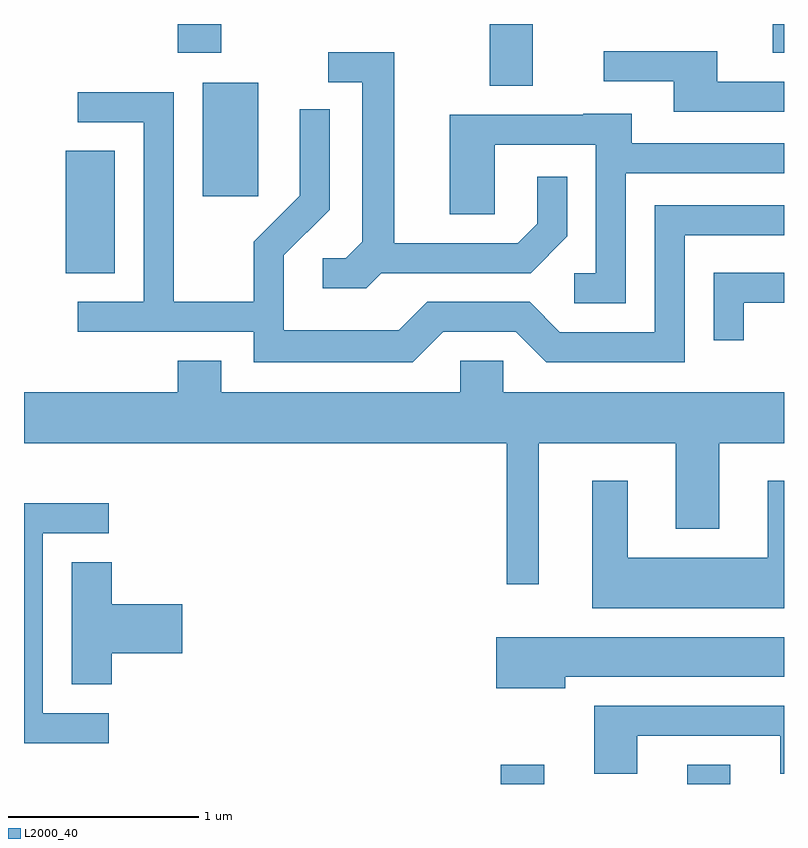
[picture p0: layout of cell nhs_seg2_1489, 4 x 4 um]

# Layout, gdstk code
import gdstk
lib = gdstk.Library(unit=1e-6, precision=1e-09)
def R(c, l, rs):  # rectangles x0, y0, x1, y1
    for r in rs: c.add(gdstk.rectangle(r[:2], r[2:], *l))
def P(c, l, *ps):  # polygons
    for p in ps: c.add(gdstk.Polygon(p, *l))
L2000_40 = (2000, 40)

nhs_seg2_1489 = lib.new_cell('nhs_seg2_1489')
R(nhs_seg2_1489, L2000_40, [(230.121,1099.802,230.349,1099.904), (231.101,1099.802,231.329,1099.904), (227.831,1102.491,228.089,1103.134), (228.551,1102.896,228.844,1103.494), (230.061,1103.476,230.289,1103.802), (228.421,1103.651,228.649,1103.802), (231.551,1103.651,231.611,1103.802)])
P(nhs_seg2_1489, L2000_40, [(231.611,1103.499),(231.259,1103.499),(231.259,1103.659),(230.663,1103.659),(230.663,1103.501),(231.031,1103.501),(231.031,1103.341),(231.611,1103.341)],
  [(229.492,1102.491),(230.277,1102.491),(230.469,1102.684),(230.469,1102.998),(230.311,1102.998),(230.311,1102.752),(230.209,1102.649),(229.559,1102.649),(229.559,1103.654),(229.213,1103.654),(229.213,1103.496),(229.391,1103.496),(229.391,1102.657),(229.304,1102.569),(229.183,1102.569),(229.183,1102.411),(229.412,1102.411)],
  [(229.817,1102.181),(230.199,1102.181),(230.359,1102.021),(231.089,1102.021),(231.089,1102.691),(231.611,1102.691),(231.611,1102.849),(230.931,1102.849),(230.931,1102.179),(230.432,1102.179),(230.272,1102.339),(229.734,1102.339),(229.584,1102.189),(228.979,1102.189),(228.979,1102.584),(229.219,1102.824),(229.219,1103.353),(229.061,1103.353),(229.061,1102.897),(228.821,1102.657),(228.821,1102.339),(228.399,1102.339),(228.399,1103.444),(227.893,1103.444),(227.893,1103.286),(228.241,1103.286),(228.241,1102.339),(227.893,1102.339),(227.893,1102.181),(228.821,1102.181),(228.821,1102.021),(229.657,1102.021)],
  [(230.779,1103.016),(231.611,1103.016),(231.611,1103.174),(230.809,1103.174),(230.809,1103.329),(230.555,1103.329),(230.555,1103.324),(229.851,1103.324),(229.851,1102.801),(230.089,1102.801),(230.089,1103.166),(230.621,1103.166),(230.621,1102.489),(230.508,1102.489),(230.508,1102.331),(230.779,1102.331)],
  [(231.399,1102.336),(231.611,1102.336),(231.611,1102.494),(231.241,1102.494),(231.241,1102.138),(231.399,1102.138)],
  [(230.319,1101.596),(231.041,1101.596),(231.041,1101.146),(231.269,1101.146),(231.269,1101.596),(231.611,1101.596),(231.611,1101.864),(230.134,1101.864),(230.134,1102.029),(229.906,1102.029),(229.906,1101.864),(228.649,1101.864),(228.649,1102.029),(228.421,1102.029),(228.421,1101.864),(227.611,1101.864),(227.611,1101.596),(230.151,1101.596),(230.151,1100.853),(230.319,1100.853)],
  [(231.611,1101.399),(231.526,1101.399),(231.526,1100.994),(230.789,1100.994),(230.789,1101.399),(230.601,1101.399),(230.601,1100.726),(231.611,1100.726)],
  [(228.058,1100.174),(227.709,1100.174),(227.709,1101.121),(228.058,1101.121),(228.058,1101.279),(227.611,1101.279),(227.611,1100.016),(228.058,1100.016)],
  [(228.074,1100.491),(228.444,1100.491),(228.444,1100.749),(228.074,1100.749),(228.074,1100.969),(227.861,1100.969),(227.861,1100.326),(228.074,1100.326)],
  [(230.459,1100.366),(231.611,1100.366),(231.611,1100.574),(230.096,1100.574),(230.096,1100.306),(230.459,1100.306)],
  [(230.839,1100.056),(231.591,1100.056),(231.591,1099.856),(231.611,1099.856),(231.611,1100.214),(230.611,1100.214),(230.611,1099.856),(230.839,1099.856)])

lib.write_gds('nhs_seg2_1489.gds')
